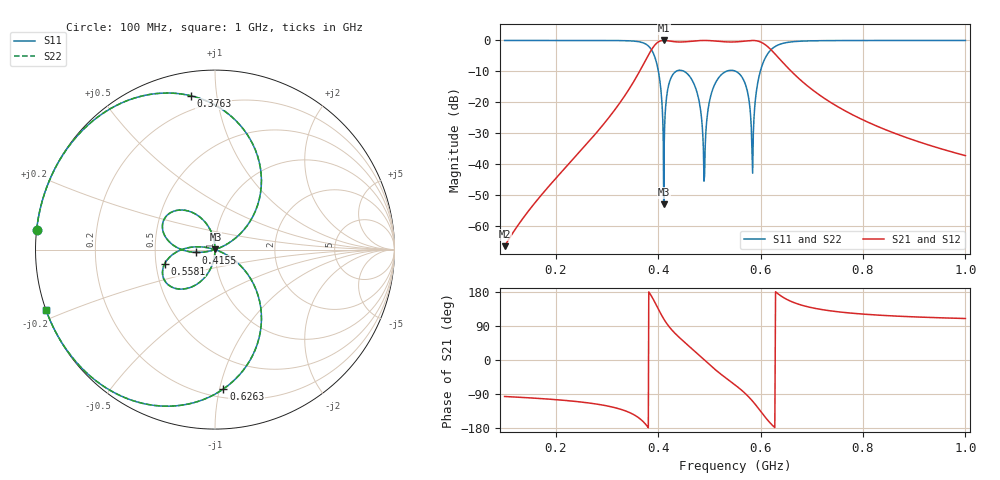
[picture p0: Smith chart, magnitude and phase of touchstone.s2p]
! Cinvestav GDL Microondas I
# GHZ  S  RI  R  50
!	Freq  Res11  Ims11  Res21  Ims21  Res12  Ims12  Res22  Ims22
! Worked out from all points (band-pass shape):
!   1000 points, 100 MHz to 1 GHz, reference 50 ohm
!   highest |S21| = 0.00 dB at 410.8 MHz (marker M1); lowest = -66.5 dB at 100 MHz (marker M2)
!   |S21| within 3 dB of the highest: 386.9 MHz to 620.3 MHz (233.4 MHz wide, 46.3 % of centre)
!   lowest |S11| = -52.9 dB at 410.8 MHz (marker M3), VSWR 1.00, Z = 50.2 + j0.072 ohm
!   |S11| at or under -10 dB: 400.4 MHz to 434.8 MHz (34.41 MHz wide, 8.24 % of centre); 450.7 MHz to 532.7 MHz (82.01 MHz wide, 16.7 % of centre); 551.8 MHz to 599.4 MHz (47.61 MHz wide, 8.27 % of centre)
!   |S22| runs from -52.9 to 0.0 dB; largest |S21 - S12| = 0
!   S11 on the Smith chart (normalised r, x): 100 MHz: 0.00, +0.05; 376.3 MHz: 0.12, +0.85; 415.5 MHz: 0.81, -0.03; 558.1 MHz: 0.56, -0.10; 626.3 MHz: 0.26, -1.03; 1 GHz: 0.00, -0.17
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0.1  -0.994 0.1091  -5.16e-05 -0.00047  -5.16e-05 -0.00047  -0.994 0.1091
0.250264  -0.9333 0.3588  -0.00614 -0.016  -0.00614 -0.016  -0.9333 0.3588
0.335371  -0.7138 0.6882  -0.0904 -0.0938  -0.0904 -0.0938  -0.7138 0.6882
0.3763358  -0.1363 0.8574  -0.4901 -0.0779  -0.4901 -0.0779  -0.1363 0.8574
0.4005001  0.2258 0.2165  -0.6572 0.6857  -0.6572 0.6857  0.2258 0.2165
0.4107841  0.00215 0.000717  -0.3167 0.9485  -0.3167 0.9485  0.00215 0.000717
0.4155455  -0.1049 -0.0157  -0.1468 0.9835  -0.1468 0.9835  -0.1049 -0.0157
0.4232789  -0.2278 0.0214  0.0911 0.9692  0.0911 0.9692  -0.2278 0.0214
0.4432479  -0.2766 0.1801  0.5151 0.7911  0.5151 0.7911  -0.2766 0.1801
0.468458  -0.0938 0.1886  0.8752 0.4355  0.8752 0.4355  -0.0938 0.1886
0.4827071  -0.0117 0.0747  0.9852 0.154  0.9852 0.154  -0.0117 0.0747
0.4905584  -9.18e-05 -0.00652  0.9999 -0.0141  0.9999 -0.0141  -9.18e-05 -0.00652
0.5101615  -0.0786 -0.1764  0.8962 -0.3995  0.8962 -0.3995  -0.0786 -0.1764
0.550479  -0.2925 -0.1291  0.3826 -0.8668  0.3826 -0.8668  -0.2925 -0.1291
0.5581446  -0.2798 -0.0781  0.2574 -0.9216  0.2574 -0.9216  -0.2798 -0.0781
0.5711586  -0.1865 -0.000448  0.00236 -0.9825  0.00236 -0.9825  -0.1865 -0.000448
0.5844761  0.00677 -0.00231  -0.323 -0.9464  -0.323 -0.9464  0.00677 -0.00231
0.6008676  0.2396 -0.254  -0.6816 -0.643  -0.6816 -0.643  0.2396 -0.254
0.6263207  0.0474 -0.7761  -0.6276 -0.0383  -0.6276 -0.0383  0.0474 -0.7761
0.7012064  -0.665 -0.7296  -0.1177 0.1073  -0.1177 0.1073  -0.665 -0.7296
0.8510007  -0.8921 -0.4506  -0.0154 0.0306  -0.0154 0.0306  -0.8921 -0.4506
1  -0.9425 -0.334  -0.00459 0.013  -0.00459 0.013  -0.9425 -0.334
